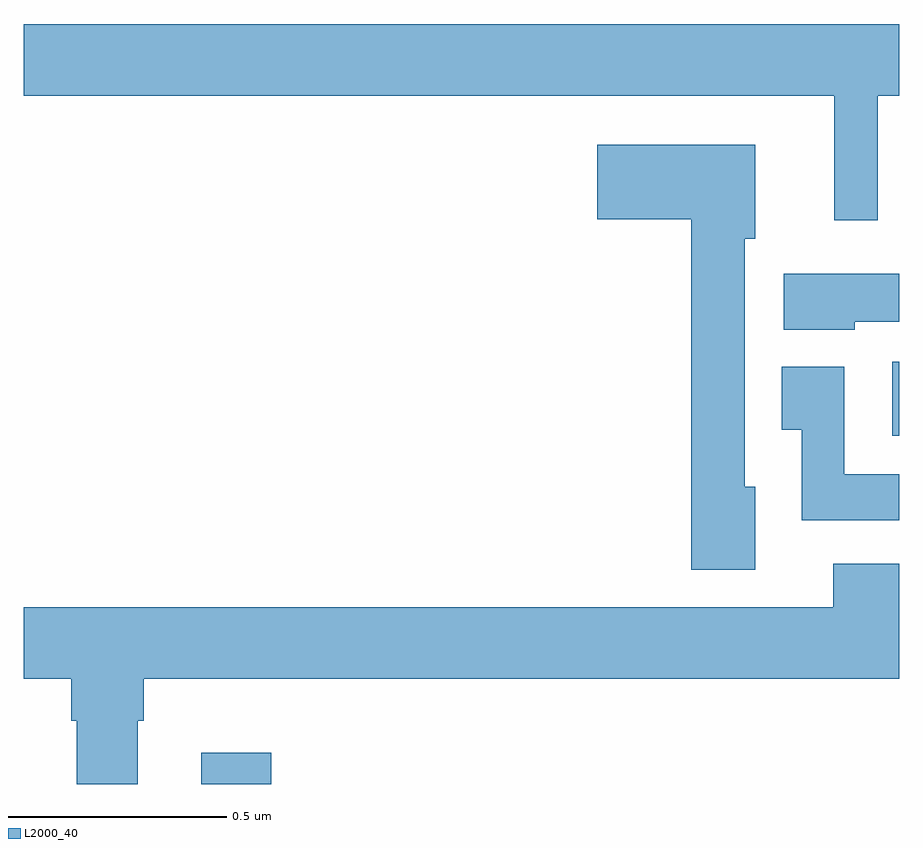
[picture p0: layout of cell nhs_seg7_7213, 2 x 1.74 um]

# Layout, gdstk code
import gdstk
lib = gdstk.Library(unit=1e-6, precision=1e-09)
def R(c, l, rs):  # rectangles x0, y0, x1, y1
    for r in rs: c.add(gdstk.rectangle(r[:2], r[2:], *l))
def P(c, l, *ps):  # polygons
    for p in ps: c.add(gdstk.Polygon(p, *l))
L2000_40 = (2000, 40)

nhs_seg7_7213 = lib.new_cell('nhs_seg7_7213')
R(nhs_seg7_7213, L2000_40, [(208.406,1043,208.565,1043.071), (209.984,1043.795,210,1043.965)])
P(nhs_seg7_7213, L2000_40, [(209.951,1044.572),(210,1044.572),(210,1044.736),(208,1044.736),(208,1044.572),(209.852,1044.572),(209.852,1044.288),(209.951,1044.288)],
  [(209.671,1043.679),(209.647,1043.679),(209.647,1044.246),(209.671,1044.246),(209.671,1044.46),(209.31,1044.46),(209.31,1044.29),(209.525,1044.29),(209.525,1043.489),(209.671,1043.489)],
  [(209.898,1044.056),(210,1044.056),(210,1044.166),(209.736,1044.166),(209.736,1044.038),(209.898,1044.038)],
  [(210,1043.707),(209.874,1043.707),(209.874,1043.953),(209.732,1043.953),(209.732,1043.809),(209.777,1043.809),(209.777,1043.603),(210,1043.603)],
  [(208.261,1043.144),(208.274,1043.144),(208.274,1043.24),(210,1043.24),(210,1043.503),(209.849,1043.503),(209.849,1043.404),(208,1043.404),(208,1043.24),(208.109,1043.24),(208.109,1043.144),(208.121,1043.144),(208.121,1043),(208.261,1043)])

lib.write_gds('nhs_seg7_7213.gds')
